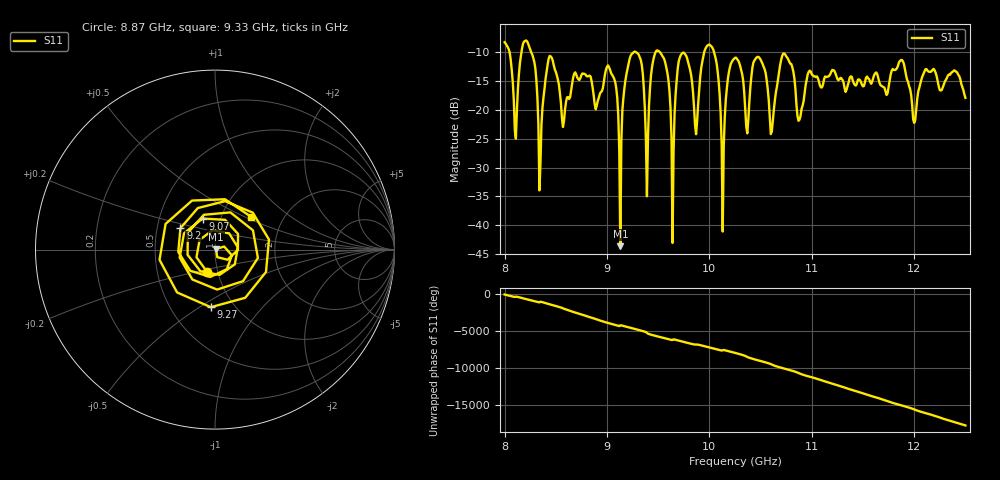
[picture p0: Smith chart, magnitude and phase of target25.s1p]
#  HZ  S  RI  R  50.00
! Rohde & Schwarz Vector Network Analyzer
! Rohde-Schwarz,ZNA43-4Port,1332450044101932,2.92
! Created: UTC 6/9/2026, 6:44:47 AM
! freq[Hz]  re:S11  im:S11
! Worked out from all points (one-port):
!   451 points, 8 GHz to 12.5 GHz, reference 50 ohm
!   lowest |S11| = -43.7 dB at 9.13 GHz (marker M1), VSWR 1.01, Z = 50.6 + j0.258 ohm
!   |S11| at or under -10 dB: 8.26 GHz to 9.259 GHz (998.6 MHz wide, 11.4 % of centre); 9.519 GHz to 9.949 GHz (430.2 MHz wide, 4.42 % of centre); 10.05 GHz to end of sweep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
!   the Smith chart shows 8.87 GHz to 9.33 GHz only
!   S11 on the Smith chart (normalised r, x): 8.87 GHz: 0.89, -0.23; 9.07 GHz: 0.82, +0.30; 9.2 GHz: 0.66, +0.17; 9.27 GHz: 0.78, -0.56; 9.33 GHz: 1.38, +0.54
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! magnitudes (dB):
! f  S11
! 8 GHz  -8.2
! 8.1 GHz  -23.5
! 8.21 GHz  -7.9
! 8.34 GHz  -34.0
! 8.44 GHz  -10.6
! 8.57 GHz  -23.0
! 8.87 GHz  -17.5
! 9.07 GHz  -14.6
! 9.13 GHz  -43.7
! 9.2 GHz  -12.9
! 9.27 GHz  -9.9
! 9.33 GHz  -11.3
! 9.39 GHz  -35.0
! 9.46 GHz  -10.7
! 9.56 GHz  -11.2
! 9.64 GHz  -43.1
! 9.69 GHz  -12.9
! 9.87 GHz  -24.2
! 10.02 GHz  -8.9
! 10.13 GHz  -41.1
! 10.25 GHz  -10.9
! 10.37 GHz  -24.1
! 10.46 GHz  -10.9
! 10.61 GHz  -23.7
! 10.82 GHz  -13.4
! 11.38 GHz  -14.2
! 11.94 GHz  -15.1
! 12.5 GHz  -17.9
